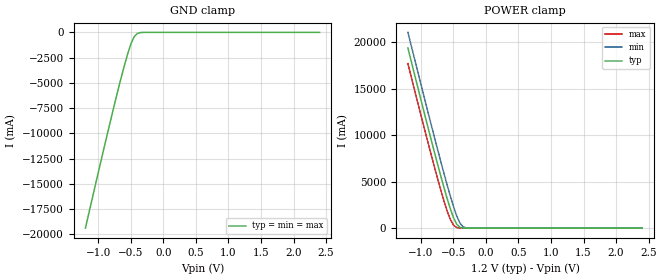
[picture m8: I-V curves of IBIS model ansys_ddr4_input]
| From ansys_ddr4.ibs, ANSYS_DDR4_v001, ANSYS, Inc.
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|Model ansys_ddr4_input
[Model] ansys_ddr4_input
Model_type Input
Vinl = 0.5
Vinh = 0.7
C_comp 1e-13 9.5e-14 1.05e-13
[Temperature Range] 25.0 0.0 85.0
[Voltage Range] 1.2 1.14 1.26
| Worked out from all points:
|   GND clamp passes 1 mA (typ) near -0.27 V on its own axis
|   POWER clamp passes 1 mA (typ) near -0.27 V on its own axis
[GND Clamp]
-1.2V     -19.39A    -19.39A    -19.39A
-850mV    -9.722A    -9.722A    -9.722A
-700mV    -5.751A    -5.751A    -5.751A
-600mV    -3.265A    -3.265A    -3.265A
-550mV    -2.13A     -2.13A     -2.13A
-500mV    -1.141A    -1.141A    -1.141A
-450mV    -425.1mA   -425.1mA   -425.1mA
-400mV    -94.51mA   -94.51mA   -94.51mA
-250mV    -337.2uA   -337.2uA   -337.2uA
2.4V      240uA      240uA      240uA
[POWER Clamp]
-1.2V     19.39A     21.07A     17.71A
-950mV    12.45A     14.1A      10.81A
-800mV    8.379A     9.992A     6.79A
-700mV    5.751A     7.316A     4.234A
-600mV    3.265A     4.733A     1.917A
-550mV    2.13A      3.503A     971.1mA
-500mV    1.141A     2.348A     328mA
-450mV    425.1mA    1.322A     66.49mA
-400mV    94.51mA    538.8mA    10.26mA
-350mV    15.04mA    132.5mA    1.506mA
-200mV    64.58uA    488uA      17.63uA
2.4V      -240uA     -246.3uA   -234.3uA
